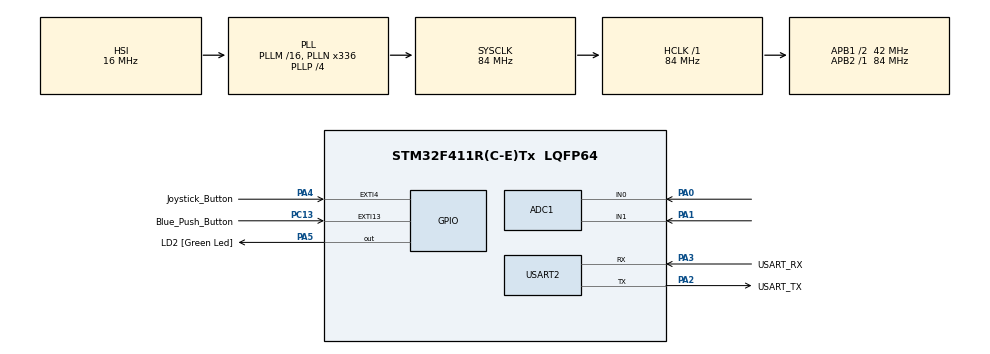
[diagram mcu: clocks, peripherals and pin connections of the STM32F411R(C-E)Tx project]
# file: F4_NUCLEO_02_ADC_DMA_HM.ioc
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ADC1.Channel-2\#ChannelRegularConversion=ADC_CHANNEL_0
ADC1.Channel-3\#ChannelRegularConversion=ADC_CHANNEL_1
ADC1.Channel-4\#ChannelRegularConversion=ADC_CHANNEL_TEMPSENSOR
ADC1.ClockPrescaler=ADC_CLOCK_SYNC_PCLK_DIV8
ADC1.ContinuousConvMode=ENABLE
ADC1.DMAContinuousRequests=ENABLE
ADC1.NbrOfConversion=3
ADC1.NbrOfConversionFlag=1
ADC1.Rank-2\#ChannelRegularConversion=1
ADC1.Rank-3\#ChannelRegularConversion=2
ADC1.Rank-4\#ChannelRegularConversion=3
ADC1.SamplingTime-2\#ChannelRegularConversion=ADC_SAMPLETIME_480CYCLES
ADC1.SamplingTime-3\#ChannelRegularConversion=ADC_SAMPLETIME_480CYCLES
ADC1.SamplingTime-4\#ChannelRegularConversion=ADC_SAMPLETIME_480CYCLES
ADC1.ScanConvMode=ENABLE
ADC1.master=1
Dma.ADC1.0.Direction=DMA_PERIPH_TO_MEMORY
Dma.ADC1.0.FIFOMode=DMA_FIFOMODE_DISABLE
Dma.ADC1.0.Instance=DMA2_Stream0
Dma.ADC1.0.MemDataAlignment=DMA_MDATAALIGN_HALFWORD
Dma.ADC1.0.MemInc=DMA_MINC_ENABLE
Dma.ADC1.0.Mode=DMA_CIRCULAR
Dma.ADC1.0.PeriphDataAlignment=DMA_PDATAALIGN_HALFWORD
Dma.ADC1.0.PeriphInc=DMA_PINC_DISABLE
Dma.ADC1.0.Priority=DMA_PRIORITY_LOW
Dma.Request0=ADC1
Mcu.Family=STM32F4
Mcu.Name=STM32F411R(C-E)Tx
Mcu.Package=LQFP64
NVIC.DMA2_Stream0_IRQn=true\:0\:0\:false\:false\:true\:false\:true\:true
NVIC.EXTI15_10_IRQn=true\:0\:0\:false\:false\:true\:true\:true\:true
NVIC.EXTI4_IRQn=true\:0\:0\:false\:false\:true\:true\:true\:true
NVIC.PriorityGroup=NVIC_PRIORITYGROUP_0
NVIC.USART2_IRQn=true\:0\:0\:false\:false\:true\:true\:true\:true
PA0-WKUP.Signal=ADCx_IN0
PA1.Signal=ADCx_IN1
PA13.GPIO_Label=TMS
PA13.Mode=Serial_Wire
PA13.Signal=SYS_JTMS-SWDIO
PA14.GPIO_Label=TCK
PA14.Mode=Serial_Wire
PA14.Signal=SYS_JTCK-SWCLK
PA2.GPIO_Label=USART_TX
PA2.Mode=Asynchronous
PA2.Signal=USART2_TX
PA3.GPIO_Label=USART_RX
PA3.Mode=Asynchronous
PA3.Signal=USART2_RX
PA4.GPIO_Label=Joystick_Button
PA4.GPIO_ModeDefaultEXTI=GPIO_MODE_IT_FALLING
PA4.GPIO_PuPd=GPIO_PULLUP
PA4.Signal=GPXTI4
PA5.GPIO_Label=LD2 [Green Led]
PA5.Signal=GPIO_Output
PB3.GPIO_Label=SWO
PB3.Signal=SYS_JTDO-SWO
PC13-ANTI_TAMP.GPIO_Label=Blue_Push_Button
PC13-ANTI_TAMP.GPIO_ModeDefaultEXTI=GPIO_MODE_IT_RISING
PC13-ANTI_TAMP.GPIO_PuPd=GPIO_NOPULL
PC13-ANTI_TAMP.Signal=GPXTI13
PC14-OSC32_IN.Mode=LSE-External-Oscillator
PC14-OSC32_IN.Signal=RCC_OSC32_IN
PC15-OSC32_OUT.Mode=LSE-External-Oscillator
PC15-OSC32_OUT.Signal=RCC_OSC32_OUT
PH0\ -\ OSC_IN.Mode=HSE-External-Clock-Source
PH0\ -\ OSC_IN.Signal=RCC_OSC_IN
PH1\ -\ OSC_OUT.Mode=HSE-External-Clock-Source
PH1\ -\ OSC_OUT.Signal=RCC_OSC_OUT
ProjectManager.HeapSize=0x200
ProjectManager.StackSize=0x400
ProjectManager.TargetToolchain=STM32CubeIDE
RCC.48MHZClocksFreq_Value=84000000
RCC.AHBFreq_Value=84000000
RCC.APB1CLKDivider=RCC_HCLK_DIV2
RCC.APB1Freq_Value=42000000
RCC.APB1TimFreq_Value=84000000
RCC.APB2Freq_Value=84000000
RCC.APB2TimFreq_Value=84000000
RCC.CortexFreq_Value=84000000
RCC.FLatency-AdvancedSettings=FLASH_LATENCY_2
RCC.HCLKFreq_Value=84000000
RCC.HSE_VALUE=8000000
RCC.HSI_VALUE=16000000
RCC.PLLN=336
RCC.PLLP=RCC_PLLP_DIV4
RCC.SYSCLKFreq_VALUE=84000000
RCC.SYSCLKSource=RCC_SYSCLKSOURCE_PLLCLK
RCC.VCOOutputFreq_Value=336000000
SH.ADCx_IN0.0=ADC1_IN0,IN0
SH.ADCx_IN1.0=ADC1_IN1,IN1
USART2.VirtualMode=VM_ASYNC
VP_ADC1_TempSens_Input.Mode=IN-TempSens
board=NUCLEO-F411RE

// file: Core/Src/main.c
/* USER CODE BEGIN Header */
/**
  ******************************************************************************
  * @file           : main.c
  * @brief          : Main program body
  ******************************************************************************
  * @attention
  *
  * Copyright (c) 2023 STMicroelectronics.
  * All rights reserved.
  *
  * This software is licensed under terms that can be found in the LICENSE file
  * in the root directory of this software component.
  * If no LICENSE file comes with this software, it is provided AS-IS.
  *
  ******************************************************************************
  */
/* USER CODE END Header */
#include "main.h"
#include "adc.h"
#include "dma.h"
#include "usart.h"
#include "gpio.h"

/* USER CODE BEGIN Includes */
#include "stdio.h"
#include "stdbool.h"
#include "string.h"
/* USER CODE END Includes */

/* USER CODE BEGIN PD */
/*choose the debouncing method*/
//#define DEBOUNCING_IMR
#define DEBOUNCING_TICK
/* USER CODE END PD */

/* USER CODE BEGIN PV */
float Temperature;
float Vsense;
const float alarm_temp = 30.0;		// [°C]
const float T25 = 25.0;				// [°C]
const float V25 = 0.76;				// [V]
const float Avg_slope = 0.0025;		// [V/°C]
const float SupplyVoltage = 3.3;	// [V]
const float ADCResolution = 4095.0;

const char nm[] = "\rNORMAL MODE\n";
const char im[] = "\rINVERSION MODE\n";
const char ar[] = "\rALARM RESET\n";
char message_array[20];
uint16_t Joystick_HW[3];
uint16_t message_length;
volatile bool inversion_mode;
volatile bool alarm_reset;

#ifdef DEBOUNCING_IMR
	volatile bool s_gpio_pressed;
#endif

#ifdef DEBOUNCING_TICK
uint32_t previousMillis = 0;
uint32_t currentMillis = 0;
uint32_t counterOutside = 0;	//For testing only
uint32_t counterInside = 0;		//For testing only
#endif
/* USER CODE END PV */

void SystemClock_Config(void);
/* USER CODE BEGIN PFP */
void HAL_GPIO_EXTI_Callback(uint16_t GPIO_Pin);
uint16_t LB_NormalMode(uint16_t * meas_val, char * message);
uint16_t LB_InversionMode(uint16_t * meas_val, char * message);
/* USER CODE END PFP */

int main(void)
{

  /* MCU Configuration--------------------------------------------------------*/

  /* Reset of all peripherals, Initializes the Flash interface and the Systick. */
  HAL_Init();

  /* Configure the system clock */
  SystemClock_Config();

  /* Initialize all configured peripherals */
  MX_GPIO_Init();
  MX_DMA_Init();
  MX_USART2_UART_Init();
  MX_ADC1_Init();
  /* USER CODE BEGIN 2 */
HAL_ADC_Start_DMA(&hadc1, (uint32_t*) Joystick_HW, 3);
inversion_mode = false;
alarm_reset = false;
HAL_UART_Transmit_IT(&huart2, (uint8_t *) nm, strlen(nm));
  /* USER CODE END 2 */

  /* Infinite loop */
  /* USER CODE BEGIN WHILE */
  while (1)
  {
	  Vsense = (SupplyVoltage * Joystick_HW[2]) / ADCResolution;	// przeliczenie wartosci zmierzonej na napiecie
	  Temperature = ((Vsense - V25) / Avg_slope) + T25;				// obliczenie temperatury
	  if (Temperature > alarm_temp && !alarm_reset)
	  {
		  message_length = sprintf(message_array, "\rALARM\n");
	  }
	  else
	  {
		  if (inversion_mode)
		 	  {
		 		  message_length = LB_InversionMode(Joystick_HW, message_array);
		 	  }
		 	  else
		 	  {
		 	  	  message_length = LB_NormalMode(Joystick_HW, message_array);
		 	  }
	  }

	  HAL_UART_Transmit_IT(&huart2, (uint8_t *) message_array, message_length);
	  HAL_Delay(100);
	  #ifdef DEBOUNCING_IMR
		  if (s_gpio_pressed)
		  {
			  HAL_GPIO_TogglePin(GPIOA, GPIO_PIN_5);
			  HAL_Delay(20);
			  __HAL_PWR_PVD_EXTI_ENABLE_IT();
			  s_gpio_pressed = false;
		  }
	  #endif
	  if(Temperature < alarm_temp - 2 && alarm_reset)
	  {
		  alarm_reset = false;
	  }
    /* USER CODE END WHILE */

  }
}

void SystemClock_Config(void)
{
  RCC_OscInitTypeDef RCC_OscInitStruct = {0};
  RCC_ClkInitTypeDef RCC_ClkInitStruct = {0};

  /** Configure the main internal regulator output voltage
  */
  __HAL_RCC_PWR_CLK_ENABLE();
  __HAL_PWR_VOLTAGESCALING_CONFIG(PWR_REGULATOR_VOLTAGE_SCALE1);

  /** Initializes the RCC Oscillators according to the specified parameters
  * in the RCC_OscInitTypeDef structure.
  */
  RCC_OscInitStruct.OscillatorType = RCC_OSCILLATORTYPE_HSI;
  RCC_OscInitStruct.HSIState = RCC_HSI_ON;
  RCC_OscInitStruct.HSICalibrationValue = RCC_HSICALIBRATION_DEFAULT;
  RCC_OscInitStruct.PLL.PLLState = RCC_PLL_ON;
  RCC_OscInitStruct.PLL.PLLSource = RCC_PLLSOURCE_HSI;
  RCC_OscInitStruct.PLL.PLLM = 16;
  RCC_OscInitStruct.PLL.PLLN = 336;
  RCC_OscInitStruct.PLL.PLLP = RCC_PLLP_DIV4;
  RCC_OscInitStruct.PLL.PLLQ = 4;
  if (HAL_RCC_OscConfig(&RCC_OscInitStruct) != HAL_OK)
  {
    Error_Handler();
  }

  /** Initializes the CPU, AHB and APB buses clocks
  */
  RCC_ClkInitStruct.ClockType = RCC_CLOCKTYPE_HCLK|RCC_CLOCKTYPE_SYSCLK
                              |RCC_CLOCKTYPE_PCLK1|RCC_CLOCKTYPE_PCLK2;
  RCC_ClkInitStruct.SYSCLKSource = RCC_SYSCLKSOURCE_PLLCLK;
  RCC_ClkInitStruct.AHBCLKDivider = RCC_SYSCLK_DIV1;
  RCC_ClkInitStruct.APB1CLKDivider = RCC_HCLK_DIV2;
  RCC_ClkInitStruct.APB2CLKDivider = RCC_HCLK_DIV1;

  if (HAL_RCC_ClockConfig(&RCC_ClkInitStruct, FLASH_LATENCY_2) != HAL_OK)
  {
    Error_Handler();
  }
}

/* USER CODE BEGIN 4 */
void HAL_GPIO_EXTI_Callback(uint16_t GPIO_Pin)
{
	if (Blue_Push_Button_Pin == GPIO_Pin)
	{
		if (!alarm_reset && Temperature > alarm_temp)
		{
			HAL_UART_Transmit_IT(&huart2, (uint8_t *) ar, strlen(ar));
			alarm_reset = true;
		}
	}
	else if (Joystick_Button_Pin == GPIO_Pin && (Temperature < alarm_temp || alarm_reset))
	{
	  #ifdef DEBOUNCING_TICK
		  counterOutside++; //For testing only
		  currentMillis = HAL_GetTick();
		  if (GPIO_Pin == Joystick_Button_Pin && (currentMillis - previousMillis > 250))
		  {
			counterInside++; //For testing only
			HAL_GPIO_TogglePin(GPIOA, GPIO_PIN_5);
			previousMillis = currentMillis;
			if (inversion_mode)
			{
				HAL_UART_Transmit_IT(&huart2, (uint8_t *) nm, strlen(nm));
				inversion_mode = false;
			}
			else
			{
				HAL_UART_Transmit_IT(&huart2, (uint8_t *) im, strlen(im));
				inversion_mode = true;
			}
		  }
	  #endif

	  #ifdef DEBOUNCING_IMR
		  if (Joystick_Button_Pin == GPIO_Pin)
		  {
			s_gpio_pressed = true;
			__HAL_PWR_PVD_EXTI_DISABLE_IT();
		  }
	  #endif
	}
}

uint16_t LB_NormalMode(uint16_t * meas_val, char * message)
{
	  if (meas_val[0] > 2500 && meas_val[1] < 2500 && meas_val[1] > 1500)
	  {
		  return (uint16_t) sprintf(message, "\rRIGHT\n");
	  }
	  else if (meas_val[0] > 2500 && meas_val[1] > 2500)
	  {
		  return (uint16_t) sprintf(message, "\rDOWN-RIGHT\n");
	  }
	  else if (meas_val[0] > 2500 && meas_val[1] < 1500)
	  {
		  return (uint16_t) sprintf(message, "\rUP-RIGHT\n");
	  }
	  else if (meas_val[0] < 1500 && meas_val[1] < 2500 && meas_val[1] > 1500)
	  {
		  return (uint16_t) sprintf(message, "\rLEFT\n");
	  }
	  else if (meas_val[0] < 1500 && meas_val[1] > 2500)
	  {
		  return (uint16_t) sprintf(message, "\rDOWN-LEFT\n");
	  }
	  else if (meas_val[0] < 1500 && meas_val[1] < 1500)
	  {
		  return (uint16_t) sprintf(message, "\rUP-LEFT\n");
	  }
	  else if (meas_val[0] > 1500  && meas_val[0] < 2500 && meas_val[1] < 1500)
	  {
		  return (uint16_t) sprintf(message, "\rUP\n");
	  }
	  else if (meas_val[0] > 1500  && meas_val[0] < 2500 && meas_val[1] > 2500)
	  {
		  return (uint16_t) sprintf(message, "\rDOWN\n");
	  }
	  else
	  {
		  return (uint16_t) sprintf(message, "\rHOLD\n");
	  }
}

uint16_t LB_InversionMode(uint16_t * meas_val, char * message)
{
	  if (meas_val[0] > 2500 && meas_val[1] < 2500 && meas_val[1] > 1500)
	  {
		  return (uint16_t) sprintf(message, "\rLEFT\n");
	  }
	  else if (meas_val[0] > 2500 && meas_val[1] > 2500)
	  {
		  return (uint16_t) sprintf(message, "\rUP-LEFT\n");//
	  }
	  else if (meas_val[0] > 2500 && meas_val[1] < 1500)
	  {
		  return (uint16_t) sprintf(message, "\rDOWN-LEFT\n");
	  }
	  else if (meas_val[0] < 1500 && meas_val[1] < 2500 && meas_val[1] > 1500)
	  {
		  return (uint16_t) sprintf(message, "\rRIGHT\n");
	  }
	  else if (meas_val[0] < 1500 && meas_val[1] > 2500)
	  {
		  return (uint16_t) sprintf(message, "\rUP-RIGHT\n");//
	  }
	  else if (meas_val[0] < 1500 && meas_val[1] < 1500)
	  {
		  return (uint16_t) sprintf(message, "\rDOWN-RIGHT\n");
	  }
	  else if (meas_val[0] > 1500  && meas_val[0] < 2500 && meas_val[1] < 1500)
	  {
		  return (uint16_t) sprintf(message, "\rDOWN\n");
	  }
	  else if (meas_val[0] > 1500  && meas_val[0] < 2500 && meas_val[1] > 2500)
	  {
		  return (uint16_t) sprintf(message, "\rUP\n");//
	  }
	  else
	  {
		  return (uint16_t) sprintf(message, "\rHOLD\n");
	  }
}
/* USER CODE END 4 */

void Error_Handler(void)
{
  __disable_irq();
  while (1)
  {
  }
}
